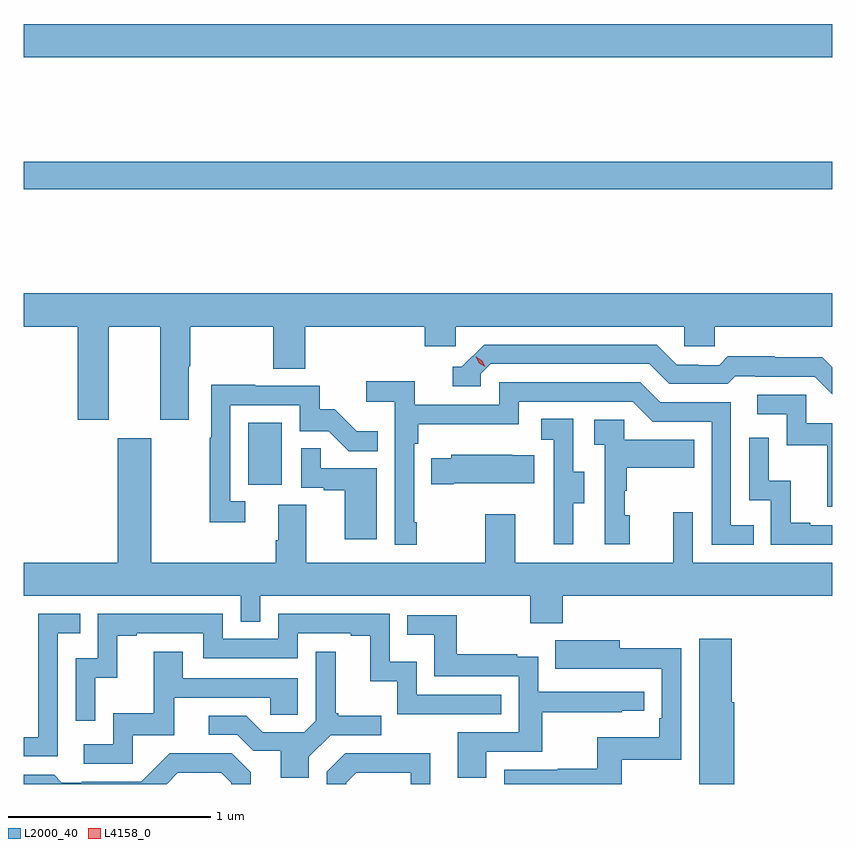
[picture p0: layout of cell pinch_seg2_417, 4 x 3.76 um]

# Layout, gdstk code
import gdstk
lib = gdstk.Library(unit=1e-6, precision=1e-09)
def R(c, l, rs):  # rectangles x0, y0, x1, y1
    for r in rs: c.add(gdstk.rectangle(r[:2], r[2:], *l))
def P(c, l, *ps):  # polygons
    for p in ps: c.add(gdstk.Polygon(p, *l))
L2000_40 = (2000, 40)
L4158_0 = (4158, 0)

pinch_seg2_417 = lib.new_cell('pinch_seg2_417')
R(pinch_seg2_417, L2000_40, [(923.228,614.886,923.392,615.193), (922.116,616.348,926.116,616.484), (922.116,617,926.116,617.164)])
P(pinch_seg2_417, L2000_40, [(922.537,615.668),(922.793,615.668),(922.793,615.207),(922.933,615.207),(922.933,615.472),(922.941,615.472),(922.941,615.668),(923.35,615.668),(923.35,615.46),(923.51,615.46),(923.51,615.668),(924.101,615.668),(924.101,615.57),(924.252,615.57),(924.252,615.668),(925.383,615.668),(925.383,615.57),(925.533,615.57),(925.533,615.668),(926.116,615.668),(926.116,615.832),(922.116,615.832),(922.116,615.668),(922.385,615.668),(922.385,615.207),(922.537,615.207)],
  [(926.116,615.467),(926.066,615.517),(925.83,615.517),(925.83,615.52),(925.597,615.52),(925.555,615.477),(925.452,615.477),(925.452,615.48),(925.345,615.48),(925.246,615.579),(924.393,615.579),(924.282,615.468),(924.239,615.468),(924.239,615.372),(924.378,615.372),(924.378,615.435),(924.426,615.483),(925.209,615.483),(925.308,615.384),(925.597,615.384),(925.636,615.423),(925.735,615.423),(925.735,615.42),(926.028,615.42),(926.116,615.332)],
  [(924.061,614.701),(924.048,614.701),(924.048,615.089),(924.068,615.089),(924.068,615.185),(924.564,615.185),(924.564,615.297),(925.128,615.297),(925.227,615.198),(925.518,615.198),(925.518,614.589),(925.727,614.589),(925.727,614.685),(925.614,614.685),(925.614,615.294),(925.264,615.294),(925.165,615.393),(924.468,615.393),(924.468,615.282),(924.05,615.282),(924.05,615.398),(923.811,615.398),(923.811,615.296),(923.952,615.296),(923.952,614.589),(924.061,614.589)],
  [(923.212,614.805),(923.139,614.805),(923.139,615.279),(923.481,615.279),(923.481,615.15),(923.625,615.15),(923.723,615.052),(923.867,615.052),(923.867,615.151),(923.763,615.151),(923.656,615.258),(923.58,615.258),(923.58,615.375),(923.261,615.375),(923.261,615.38),(923.043,615.38),(923.043,615.119),(923.038,615.119),(923.038,614.7),(923.212,614.7)],
  [(926.116,615.189),(925.986,615.189),(925.986,615.33),(925.743,615.33),(925.743,615.234),(925.89,615.234),(925.89,615.081),(926.089,615.081),(926.089,614.778),(926.116,614.778)],
  [(924.835,614.794),(924.889,614.794),(924.889,614.949),(924.834,614.949),(924.834,615.212),(924.675,615.212),(924.675,615.109),(924.738,615.109),(924.738,614.805),(924.737,614.805),(924.737,614.592),(924.835,614.592)],
  [(925.114,614.736),(925.089,614.736),(925.089,614.855),(925.099,614.855),(925.099,614.969),(925.433,614.969),(925.433,615.109),(925.086,615.109),(925.086,615.207),(924.939,615.207),(924.939,615.083),(924.99,615.083),(924.99,614.592),(925.114,614.592)],
  [(926.116,614.685),(926.005,614.685),(926.005,614.698),(925.91,614.698),(925.91,614.906),(925.8,614.906),(925.8,615.118),(925.704,615.118),(925.704,614.808),(925.812,614.808),(925.812,614.589),(926.116,614.589)],
  [(922.747,615.115),(922.583,615.115),(922.583,614.5),(922.116,614.5),(922.116,614.336),(923.19,614.336),(923.19,614.209),(923.286,614.209),(923.286,614.336),(924.622,614.336),(924.622,614.201),(924.782,614.201),(924.782,614.336),(926.116,614.336),(926.116,614.5),(925.425,614.5),(925.425,614.749),(925.328,614.749),(925.328,614.5),(924.547,614.5),(924.547,614.74),(924.4,614.74),(924.4,614.5),(923.515,614.5),(923.515,614.786),(923.375,614.786),(923.375,614.612),(923.363,614.612),(923.363,614.5),(922.747,614.5)],
  [(923.863,614.967),(923.585,614.967),(923.585,615.065),(923.49,615.065),(923.49,614.871),(923.601,614.871),(923.601,614.859),(923.705,614.859),(923.705,614.616),(923.863,614.616)],
  [(924.244,614.894),(924.641,614.894),(924.641,615.031),(924.533,615.031),(924.533,615.034),(924.231,615.034),(924.231,615.016),(924.133,615.016),(924.133,614.887),(924.244,614.887)],
  [(922.47,613.931),(922.58,613.931),(922.58,614.139),(922.675,614.139),(922.675,614.151),(923.004,614.151),(923.004,614.028),(923.472,614.028),(923.472,614.151),(923.735,614.151),(923.735,614.139),(923.831,614.139),(923.831,613.913),(923.964,613.913),(923.964,613.752),(924.479,613.752),(924.479,613.848),(924.06,613.848),(924.06,614.011),(923.928,614.011),(923.928,614.247),(923.376,614.247),(923.376,614.124),(923.1,614.124),(923.1,614.247),(922.482,614.247),(922.482,614.028),(922.374,614.028),(922.374,613.719),(922.47,613.719)],
  [(922.284,614.151),(922.397,614.151),(922.397,614.247),(922.188,614.247),(922.188,613.638),(922.116,613.638),(922.116,613.542),(922.284,613.542)],
  [(924.403,613.566),(924.68,613.566),(924.68,613.762),(925.073,613.762),(925.073,613.767),(925.186,613.767),(925.186,613.863),(924.66,613.863),(924.66,614.035),(924.557,614.035),(924.557,614.047),(924.259,614.047),(924.259,614.241),(924.013,614.241),(924.013,614.144),(924.148,614.144),(924.148,613.938),(924.564,613.938),(924.564,613.662),(924.263,613.662),(924.263,613.438),(924.403,613.438)],
  [(925.63,613.809),(925.618,613.809),(925.618,614.125),(925.457,614.125),(925.457,613.406),(925.63,613.406)],
  [(925.075,613.527),(925.368,613.527),(925.368,614.078),(925.063,614.078),(925.063,614.116),(924.745,614.116),(924.745,613.976),(924.959,613.976),(924.959,613.977),(925.272,613.977),(925.272,613.732),(925.259,613.732),(925.259,613.636),(924.954,613.636),(924.954,613.481),(924.757,613.481),(924.757,613.476),(924.492,613.476),(924.492,613.406),(925.075,613.406)],
  [(923.527,613.54),(923.634,613.647),(923.884,613.647),(923.884,613.744),(923.671,613.744),(923.671,613.756),(923.659,613.756),(923.659,614.059),(923.562,614.059),(923.562,613.719),(923.505,613.662),(923.299,613.662),(923.218,613.743),(923.031,613.743),(923.031,613.65),(923.172,613.65),(923.252,613.57),(923.387,613.57),(923.387,613.438),(923.527,613.438)],
  [(922.656,613.647),(922.861,613.647),(922.861,613.833),(923.335,613.833),(923.335,613.749),(923.472,613.749),(923.472,613.929),(922.903,613.929),(922.903,614.059),(922.759,614.059),(922.759,613.756),(922.56,613.756),(922.56,613.602),(922.413,613.602),(922.413,613.506),(922.656,613.506)],
  [(923.712,613.413),(923.76,613.461),(924.03,613.461),(924.03,613.406),(924.127,613.406),(924.127,613.559),(923.922,613.559),(923.922,613.557),(923.706,613.557),(923.616,613.467),(923.616,613.406),(923.712,613.406)],
  [(922.878,613.461),(923.094,613.461),(923.142,613.413),(923.142,613.406),(923.239,613.406),(923.239,613.463),(923.145,613.557),(922.839,613.557),(922.698,613.416),(922.405,613.416),(922.405,613.413),(922.306,613.413),(922.267,613.452),(922.116,613.452),(922.116,613.406),(922.823,613.406)])
P(pinch_seg2_417, L4158_0, [(924.4,615.468),(924.369,615.487),(924.353,615.519),(924.353,615.519),(924.354,615.519),(924.384,615.5),(924.4,615.468),(924.4,615.468)])

lib.write_gds('pinch_seg2_417.gds')
